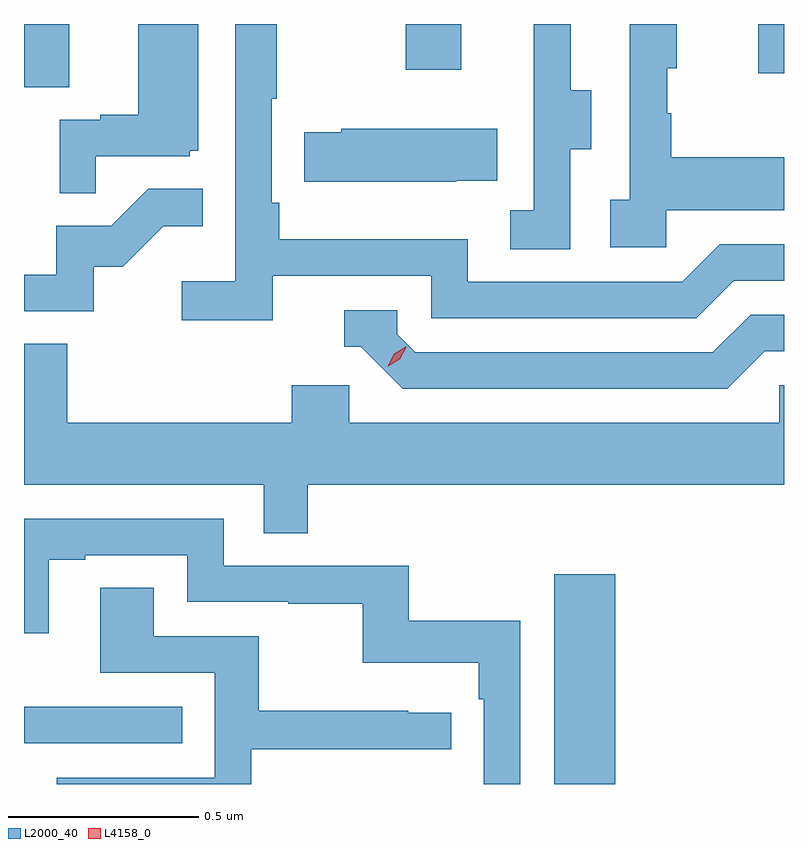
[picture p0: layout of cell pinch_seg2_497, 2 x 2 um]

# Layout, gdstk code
import gdstk
lib = gdstk.Library(unit=1e-6, precision=1e-09)
def R(c, l, rs):  # rectangles x0, y0, x1, y1
    for r in rs: c.add(gdstk.rectangle(r[:2], r[2:], *l))
def P(c, l, *ps):  # polygons
    for p in ps: c.add(gdstk.Polygon(p, *l))
L2000_40 = (2000, 40)
L4158_0 = (4158, 0)

pinch_seg2_497 = lib.new_cell('pinch_seg2_497')
R(pinch_seg2_497, L2000_40, [(926.345,590.905,926.506,591.457), (924.95,591.012,925.367,591.108), (924.95,592.738,925.069,592.905), (926.882,592.776,926.95,592.905), (925.954,592.785,926.101,592.905)])
P(pinch_seg2_497, L2000_40, [(925.139,592.557),(925.386,592.557),(925.386,592.572),(925.408,592.572),(925.408,592.905),(925.25,592.905),(925.25,592.666),(925.151,592.666),(925.151,592.653),(925.044,592.653),(925.044,592.459),(925.139,592.459)],
  [(925.604,592.242),(926.022,592.242),(926.022,592.131),(926.719,592.131),(926.818,592.23),(926.95,592.23),(926.95,592.326),(926.781,592.326),(926.682,592.227),(926.118,592.227),(926.118,592.339),(925.622,592.339),(925.622,592.435),(925.602,592.435),(925.602,592.708),(925.615,592.708),(925.615,592.905),(925.506,592.905),(925.506,592.228),(925.365,592.228),(925.365,592.126),(925.604,592.126)],
  [(926.388,592.576),(926.443,592.576),(926.443,592.731),(926.389,592.731),(926.389,592.905),(926.291,592.905),(926.291,592.719),(926.292,592.719),(926.292,592.415),(926.229,592.415),(926.229,592.312),(926.388,592.312)],
  [(926.64,592.415),(926.95,592.415),(926.95,592.555),(926.653,592.555),(926.653,592.67),(926.643,592.67),(926.643,592.788),(926.668,592.788),(926.668,592.905),(926.544,592.905),(926.544,592.442),(926.493,592.442),(926.493,592.317),(926.64,592.317)],
  [(926.087,592.493),(926.195,592.493),(926.195,592.63),(925.785,592.63),(925.785,592.62),(925.687,592.62),(925.687,592.49),(926.087,592.49)],
  [(925.134,592.266),(925.21,592.266),(925.317,592.373),(925.421,592.373),(925.421,592.472),(925.277,592.472),(925.179,592.374),(925.035,592.374),(925.035,592.245),(924.95,592.245),(924.95,592.149),(925.134,592.149)],
  [(926.899,592.044),(926.95,592.044),(926.95,592.14),(926.862,592.14),(926.763,592.041),(925.98,592.041),(925.932,592.089),(925.932,592.152),(925.793,592.152),(925.793,592.056),(925.836,592.056),(925.947,591.945),(926.8,591.945)],
  [(925.697,591.692),(926.95,591.692),(926.95,591.954),(926.937,591.954),(926.937,591.856),(925.806,591.856),(925.806,591.954),(925.655,591.954),(925.655,591.856),(925.064,591.856),(925.064,592.064),(924.95,592.064),(924.95,591.692),(925.581,591.692),(925.581,591.565),(925.697,591.565)],
  [(926.256,591.334),(925.963,591.334),(925.963,591.48),(925.476,591.48),(925.476,591.603),(924.95,591.603),(924.95,591.302),(925.015,591.302),(925.015,591.495),(925.111,591.495),(925.111,591.507),(925.38,591.507),(925.38,591.384),(925.645,591.384),(925.645,591.379),(925.842,591.379),(925.842,591.224),(926.147,591.224),(926.147,591.128),(926.16,591.128),(926.16,590.905),(926.256,590.905)],
  [(925.548,590.997),(926.074,590.997),(926.074,591.093),(925.961,591.093),(925.961,591.098),(925.568,591.098),(925.568,591.294),(925.291,591.294),(925.291,591.422),(925.151,591.422),(925.151,591.198),(925.452,591.198),(925.452,590.922),(925.036,590.922),(925.036,590.905),(925.548,590.905)])
P(pinch_seg2_497, L4158_0, [(925.907,592.004),(925.907,592.004),(925.924,592.037),(925.955,592.056),(925.956,592.056),(925.956,592.055),(925.939,592.023),(925.908,592.004)])

lib.write_gds('pinch_seg2_497.gds')
